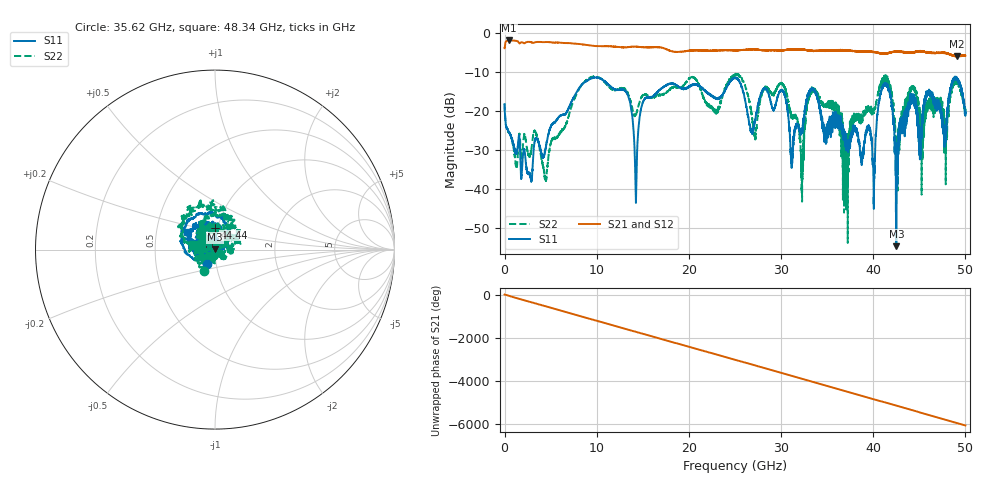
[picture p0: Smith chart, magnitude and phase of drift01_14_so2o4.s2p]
!Created with skrf (http://scikit-rf.org).
# Hz S RI R 50.0
!freq ReS11 ImS11 ReS21 ImS21 ReS12 ImS12 ReS22 ImS22
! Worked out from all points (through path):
!   10001 points, 300 kHz to 50 GHz, reference 50 ohm
!   highest |S21| = -2.00 dB at 490.3 MHz (marker M1); lowest = -6.1 dB at 49.05 GHz (marker M2)
!   group delay of S21, straight-line fit = 336 ps
!   lowest |S11| = -54.7 dB at 42.51 GHz (marker M3), VSWR 1.00, Z = 50 + j0.183 ohm
!   |S11| at or under -10 dB: start of sweep to end of sweep
!   |S22| runs from -53.9 to -10.5 dB; largest |S21 - S12| = 0.017
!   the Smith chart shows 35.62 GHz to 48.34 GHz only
!   S11 on the Smith chart (normalised r, x): 35.62 GHz: 0.91, -0.14; 44.44 GHz: 0.97, +0.24; 48.34 GHz: 0.72, +0.14
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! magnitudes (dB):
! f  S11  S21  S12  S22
! 300 kHz  -18.4  -4.0  -4.1  -18.1
! 490.3 MHz  -25.6  -2.0  -2.0  -25.5
! 4.425 GHz  -29.8  -2.4  -2.4  -37.4
! 8.335 GHz  -13.4  -3.0  -3.0  -13.5
! 13.16 GHz  -15.1  -3.8  -3.8  -14.6
! 14.25 GHz  -42.9  -3.6  -3.6  -21.0
! 16.67 GHz  -15.0  -3.7  -3.7  -15.9
! 25 GHz  -11.6  -4.5  -4.6  -10.9
! 27.14 GHz  -22.7  -4.3  -4.3  -26.1
! 30.2 GHz  -15.1  -4.5  -4.5  -13.3
! 32.25 GHz  -25.0  -4.4  -4.3  -41.0
! 33.34 GHz  -14.4  -4.6  -4.6  -14.8
! 35.62 GHz  -21.0  -4.6  -4.6  -17.7
! 37.02 GHz  -27.2  -4.5  -4.6  -29.5
! 40.06 GHz  -43.9  -5.0  -5.0  -20.6
! 41.67 GHz  -14.3  -5.1  -5.1  -12.4
! 42.51 GHz  -54.7  -4.9  -4.9  -27.7
! 44.44 GHz  -18.2  -5.0  -4.9  -14.7
! 45.3 GHz  -23.2  -4.8  -4.8  -25.8
! 48.34 GHz  -14.6  -5.6  -5.5  -17.6
! 49.05 GHz  -11.7  -6.1  -6.1  -12.4
! 50 GHz  -20.4  -5.9  -5.8  -19.5
